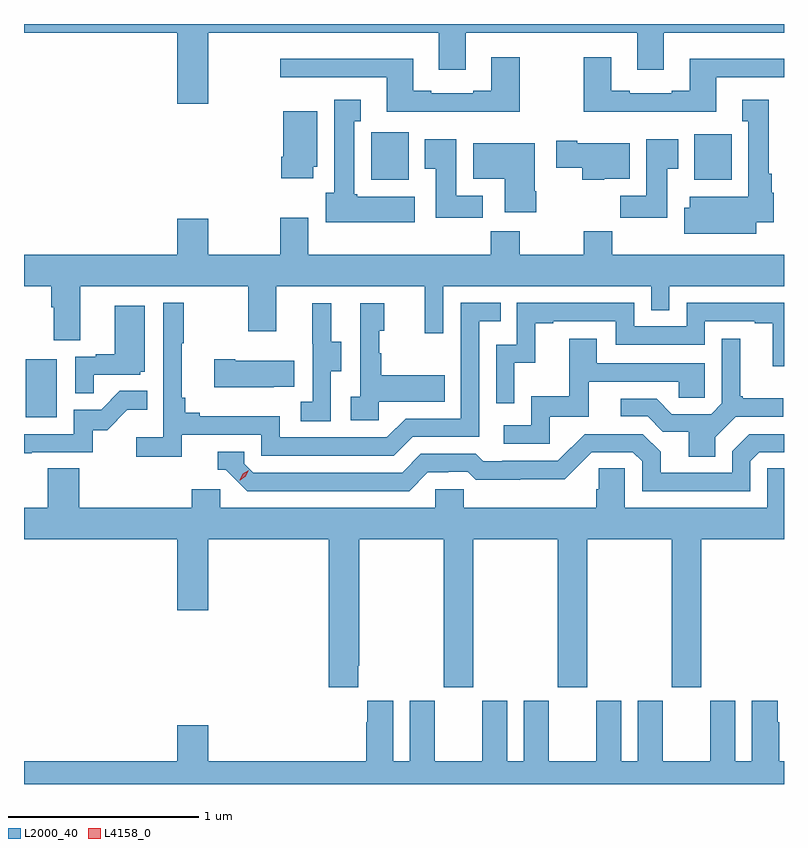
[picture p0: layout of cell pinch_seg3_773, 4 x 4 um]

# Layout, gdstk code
import gdstk
lib = gdstk.Library(unit=1e-6, precision=1e-09)
def R(c, l, rs):  # rectangles x0, y0, x1, y1
    for r in rs: c.add(gdstk.rectangle(r[:2], r[2:], *l))
def P(c, l, *ps):  # polygons
    for p in ps: c.add(gdstk.Polygon(p, *l))
L2000_40 = (2000, 40)
L4158_0 = (4158, 0)

pinch_seg3_773 = lib.new_cell('pinch_seg3_773')
R(pinch_seg3_773, L2000_40, [(823.55,738.852,823.714,739.159), (825.369,740.102,825.565,740.352), (827.069,740.102,827.266,740.344)])
P(pinch_seg3_773, L2000_40, [(824.512,740.876),(825.725,740.876),(825.725,740.682),(825.865,740.682),(825.865,740.876),(826.769,740.876),(826.769,740.682),(826.909,740.682),(826.909,740.876),(827.541,740.876),(827.541,740.923),(823.541,740.923),(823.541,740.876),(824.348,740.876),(824.348,740.502),(824.512,740.502)],
  [(826.149,740.749),(826.001,740.749),(826.001,740.572),(825.905,740.572),(825.905,740.559),(825.685,740.559),(825.685,740.572),(825.589,740.572),(825.589,740.74),(824.889,740.74),(824.889,740.643),(825.449,740.643),(825.449,740.462),(826.149,740.462)],
  [(827.185,740.643),(827.541,740.643),(827.541,740.74),(827.045,740.74),(827.045,740.572),(826.949,740.572),(826.949,740.559),(826.729,740.559),(826.729,740.572),(826.633,740.572),(826.633,740.749),(826.486,740.749),(826.486,740.462),(827.185,740.462)],
  [(825.598,740.014),(825.294,740.014),(825.294,740.028),(825.28,740.028),(825.28,740.411),(825.313,740.411),(825.313,740.524),(825.173,740.524),(825.173,740.034),(825.128,740.034),(825.128,739.88),(825.598,739.88)],
  [(827.395,739.88),(827.488,739.88),(827.488,740.034),(827.476,740.034),(827.476,740.134),(827.461,740.134),(827.461,740.524),(827.321,740.524),(827.321,740.411),(827.354,740.411),(827.354,740.014),(827.045,740.014),(827.045,739.955),(827.015,739.955),(827.015,739.82),(827.395,739.82)],
  [(825.064,740.172),(825.085,740.172),(825.085,740.464),(824.906,740.464),(824.906,740.224),(824.894,740.224),(824.894,740.112),(825.064,740.112)],
  [(825.956,740.02),(825.817,740.02),(825.817,740.317),(825.65,740.317),(825.65,740.161),(825.707,740.161),(825.707,739.902),(825.956,739.902)],
  [(826.927,740.161),(826.984,740.161),(826.984,740.317),(826.817,740.317),(826.817,740.02),(826.678,740.02),(826.678,739.902),(826.927,739.902)],
  [(826.596,740.108),(826.729,740.108),(826.729,740.296),(826.453,740.296),(826.453,740.309),(826.341,740.309),(826.341,740.167),(826.478,740.167),(826.478,740.102),(826.596,740.102)],
  [(826.236,740.044),(826.228,740.044),(826.228,740.296),(825.905,740.296),(825.905,740.108),(826.07,740.108),(826.07,739.932),(826.236,739.932)],
  [(823.837,739.544),(824.722,739.544),(824.722,739.305),(824.869,739.305),(824.869,739.544),(825.65,739.544),(825.65,739.296),(825.747,739.296),(825.747,739.544),(826.842,739.544),(826.842,739.417),(826.938,739.417),(826.938,739.544),(827.541,739.544),(827.541,739.708),(826.637,739.708),(826.637,739.832),(826.486,739.832),(826.486,739.708),(826.149,739.708),(826.149,739.832),(825.997,739.832),(825.997,739.708),(825.037,739.708),(825.037,739.903),(824.89,739.903),(824.89,739.708),(824.512,739.708),(824.512,739.897),(824.348,739.897),(824.348,739.708),(823.541,739.708),(823.541,739.544),(823.685,739.544),(823.685,739.432),(823.697,739.432),(823.697,739.258),(823.837,739.258)],
  [(824.372,738.762),(824.79,738.762),(824.79,738.651),(825.487,738.651),(825.586,738.75),(825.936,738.75),(825.936,739.359),(826.049,739.359),(826.049,739.455),(825.84,739.455),(825.84,738.846),(825.549,738.846),(825.45,738.747),(824.886,738.747),(824.886,738.859),(824.467,738.859),(824.467,738.878),(824.39,738.878),(824.39,738.955),(824.371,738.955),(824.371,739.243),(824.383,739.243),(824.383,739.456),(824.274,739.456),(824.274,738.748),(824.133,738.748),(824.133,738.646),(824.372,738.646)],
  [(826.122,739.139),(826.232,739.139),(826.232,739.347),(826.327,739.347),(826.327,739.359),(826.656,739.359),(826.656,739.236),(827.124,739.236),(827.124,739.359),(827.387,739.359),(827.387,739.347),(827.483,739.347),(827.483,739.121),(827.541,739.121),(827.541,739.455),(827.028,739.455),(827.028,739.332),(826.752,739.332),(826.752,739.455),(826.134,739.455),(826.134,739.236),(826.026,739.236),(826.026,738.927),(826.122,738.927)],
  [(825.156,739.096),(825.211,739.096),(825.211,739.251),(825.157,739.251),(825.157,739.453),(825.059,739.453),(825.059,739.239),(825.06,739.239),(825.06,738.935),(824.997,738.935),(824.997,738.832),(825.156,738.832)],
  [(825.408,738.935),(825.755,738.935),(825.755,739.075),(825.421,739.075),(825.421,739.19),(825.411,739.19),(825.411,739.308),(825.436,739.308),(825.436,739.453),(825.312,739.453),(825.312,738.962),(825.261,738.962),(825.261,738.837),(825.408,738.837)],
  [(823.907,739.077),(824.154,739.077),(824.154,739.092),(824.176,739.092),(824.176,739.441),(824.018,739.441),(824.018,739.186),(823.919,739.186),(823.919,739.173),(823.812,739.173),(823.812,738.979),(823.907,738.979)],
  [(827.179,738.748),(827.286,738.855),(827.536,738.855),(827.536,738.952),(827.323,738.952),(827.323,738.964),(827.311,738.964),(827.311,739.267),(827.214,739.267),(827.214,738.927),(827.157,738.87),(826.951,738.87),(826.87,738.951),(826.683,738.951),(826.683,738.858),(826.824,738.858),(826.904,738.778),(827.039,738.778),(827.039,738.646),(827.179,738.646)],
  [(826.308,738.855),(826.513,738.855),(826.513,739.041),(826.987,739.041),(826.987,738.957),(827.124,738.957),(827.124,739.137),(826.555,739.137),(826.555,739.267),(826.411,739.267),(826.411,738.964),(826.212,738.964),(826.212,738.81),(826.065,738.81),(826.065,738.714),(826.308,738.714)],
  [(824.855,739.013),(824.963,739.013),(824.963,739.15),(824.653,739.15),(824.653,739.158),(824.541,739.158),(824.541,739.01),(824.855,739.01)],
  [(823.583,738.669),(823.902,738.669),(823.902,738.786),(823.978,738.786),(824.085,738.893),(824.189,738.893),(824.189,738.992),(824.045,738.992),(823.947,738.894),(823.803,738.894),(823.803,738.765),(823.541,738.765),(823.541,738.664),(823.583,738.664)],
  [(825.667,738.564),(825.774,738.564),(825.774,738.567),(825.877,738.567),(825.919,738.525),(826.152,738.525),(826.152,738.527),(826.388,738.527),(826.53,738.669),(826.746,738.669),(826.794,738.621),(826.794,738.465),(827.364,738.465),(827.364,738.621),(827.412,738.669),(827.541,738.669),(827.541,738.765),(827.358,738.765),(827.268,738.675),(827.268,738.561),(826.891,738.561),(826.891,738.671),(826.797,738.765),(826.491,738.765),(826.35,738.624),(826.057,738.624),(826.057,738.621),(825.958,738.621),(825.919,738.66),(825.63,738.66),(825.531,738.561),(824.748,738.561),(824.7,738.609),(824.7,738.672),(824.561,738.672),(824.561,738.576),(824.604,738.576),(824.715,738.465),(825.568,738.465)],
  [(825.301,737.545),(825.306,737.545),(825.306,738.212),(825.751,738.212),(825.751,737.433),(825.906,737.433),(825.906,738.212),(826.351,738.212),(826.351,737.433),(826.506,737.433),(826.506,738.212),(826.951,738.212),(826.951,737.433),(827.106,737.433),(827.106,738.212),(827.541,738.212),(827.541,738.584),(827.454,738.584),(827.454,738.376),(826.704,738.376),(826.704,738.584),(826.567,738.584),(826.567,738.474),(826.553,738.474),(826.553,738.376),(825.855,738.376),(825.855,738.474),(825.705,738.474),(825.705,738.376),(824.574,738.376),(824.574,738.474),(824.423,738.474),(824.423,738.376),(823.832,738.376),(823.832,738.584),(823.667,738.584),(823.667,738.376),(823.541,738.376),(823.541,738.212),(824.348,738.212),(824.348,737.838),(824.512,737.838),(824.512,738.212),(825.146,738.212),(825.146,737.433),(825.301,737.433)],
  [(827.541,737.044),(827.516,737.044),(827.516,737.249),(827.509,737.249),(827.509,737.362),(827.372,737.362),(827.372,737.044),(827.284,737.044),(827.284,737.362),(827.153,737.362),(827.153,737.044),(826.903,737.044),(826.903,737.362),(826.772,737.362),(826.772,737.044),(826.684,737.044),(826.684,737.362),(826.553,737.362),(826.553,737.044),(826.303,737.044),(826.303,737.362),(826.172,737.362),(826.172,737.044),(826.084,737.044),(826.084,737.362),(825.953,737.362),(825.953,737.044),(825.703,737.044),(825.703,737.362),(825.572,737.362),(825.572,737.044),(825.484,737.044),(825.484,737.362),(825.347,737.362),(825.347,737.249),(825.341,737.249),(825.341,737.044),(824.512,737.044),(824.512,737.233),(824.348,737.233),(824.348,737.044),(823.541,737.044),(823.541,736.923),(827.541,736.923)])
P(pinch_seg3_773, L4158_0, [(824.677,738.522),(824.677,738.522),(824.693,738.555),(824.724,738.575),(824.724,738.575),(824.724,738.575),(824.708,738.542),(824.678,738.522)])

lib.write_gds('pinch_seg3_773.gds')
